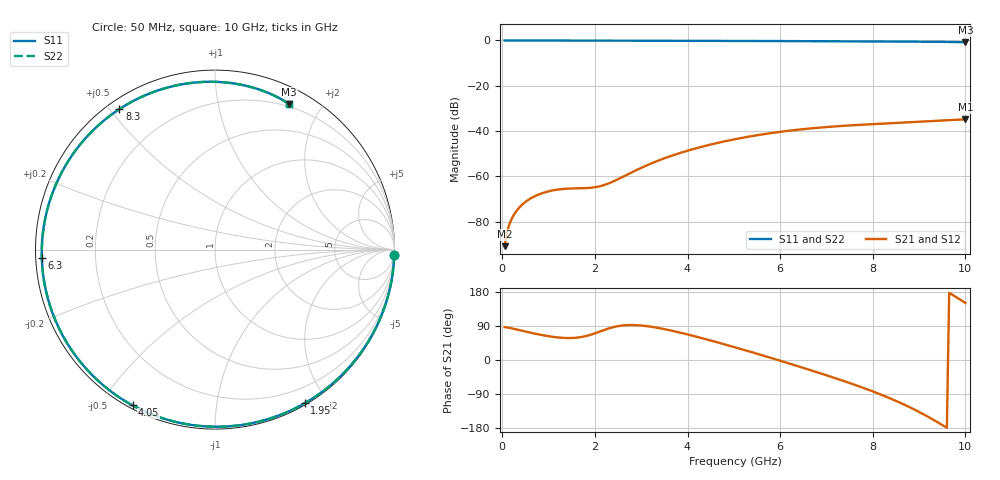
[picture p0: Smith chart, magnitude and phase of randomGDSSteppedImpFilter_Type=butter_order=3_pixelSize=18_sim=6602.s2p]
! freq	dB(S11)	phase(S11)	dB(S12)	phase(S12)
!  dB(S21)	phase(S21)	dB(S22)	phase(S22)
!S-par simulation data
#  GHz  S  DB  R 50
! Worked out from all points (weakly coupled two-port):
!   200 points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, 50 MHz to 10 GHz, reference 50 ohm
!   highest |S21| = -34.90 dB at 10 GHz (marker M1); lowest = -90.9 dB at 50 MHz (marker M2)
!   lowest |S11| = -0.8 dB at 10 GHz (marker M3), VSWR 21.30, Z = 8.54 + j80.9 ohm
!   |S11| at or under -10 dB: nowhere
!   |S22| runs from -0.8 to 0.0 dB; largest |S21 - S12| = 0
!   S11 on the Smith chart (normalised r, x): 50 MHz: 1, -72; 1.95 GHz: 0.02, -1.74; 4.05 GHz: 0.01, -0.60; 6.3 GHz: 0.02, -0.03; 8.3 GHz: 0.03, +0.53; 10 GHz: 0.17, +1.62
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0.05  -0.00 -1.6  -90.87 86.8  -90.87 86.8  -0.00 -1.6
0.15  -0.01 -4.7  -81.38 84.9  -81.38 84.9  -0.01 -4.7
0.4  -0.01 -12.6  -73.10 77.8  -73.10 77.8  -0.01 -12.6
0.75  -0.03 -23.5  -68.34 68.4  -68.34 68.4  -0.03 -23.5
1.15  -0.04 -35.8  -66.01 60.2  -66.01 60.2  -0.04 -35.7
1.75  -0.07 -53.8  -65.27 61.6  -65.27 61.6  -0.07 -53.8
1.95  -0.08 -59.7  -65.00 68.3  -65.00 68.3  -0.08 -59.7
2.25  -0.09 -68.4  -63.51 81.4  -63.51 81.4  -0.09 -68.4
2.65  -0.10 -79.8  -59.76 91.7  -59.76 91.7  -0.10 -79.8
3.4  -0.13 -100.5  -52.83 83.9  -52.83 83.9  -0.13 -100.5
4.05  -0.16 -117.9  -48.40 65.9  -48.40 65.9  -0.16 -117.8
5.05  -0.21 -144.1  -43.52 32.6  -43.52 32.6  -0.21 -144.0
5.7  -0.25 -161.1  -41.23 9.2  -41.23 9.2  -0.25 -161.0
6.3  -0.30 -177.1  -39.62 -13.1  -39.62 -13.1  -0.30 -177.0
6.7  -0.33 171.9  -38.78 -28.5  -38.78 -28.5  -0.33 172.0
7.5  -0.40 149.0  -37.55 -60.7  -37.55 -60.7  -0.40 149.1
8.3  -0.48 124.2  -36.66 -97.4  -36.66 -97.4  -0.48 124.4
8.35  -0.48 122.6  -36.61 -99.9  -36.61 -99.9  -0.48 122.8
8.8  -0.52 107.7  -36.13 -124.8  -36.13 -124.8  -0.52 107.8
9.25  -0.58 91.9  -35.61 -153.6  -35.61 -153.6  -0.58 92.1
9.65  -0.65 77.1  -35.17 177.4  -35.17 177.4  -0.66 77.3
10  -0.82 63.1  -34.90 150.6  -34.90 150.6  -0.82 63.2
